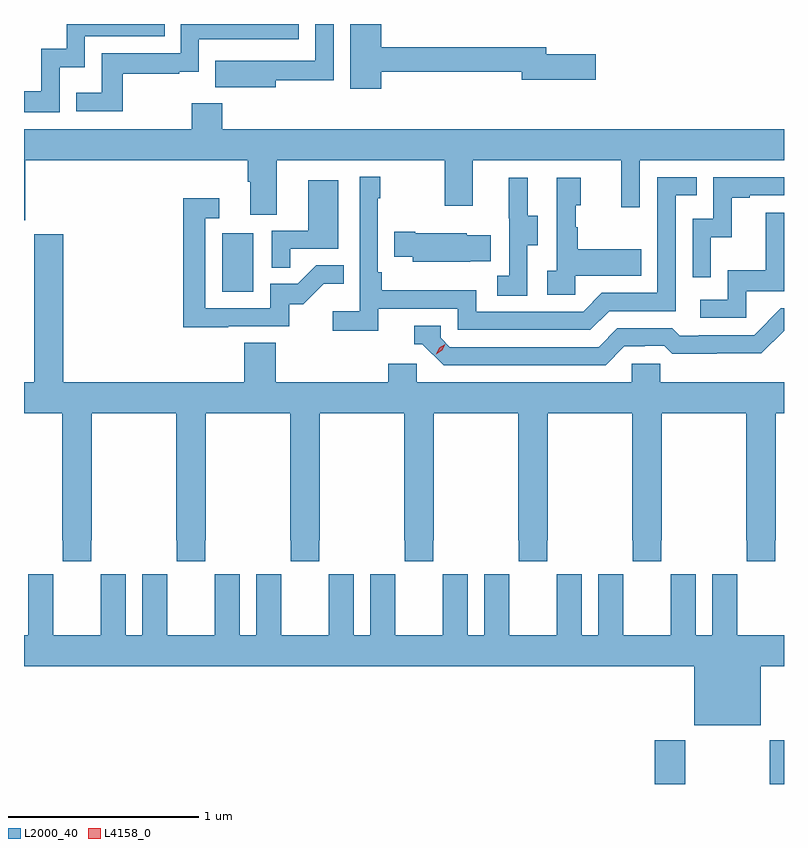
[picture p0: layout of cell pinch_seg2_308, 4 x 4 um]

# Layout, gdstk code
import gdstk
lib = gdstk.Library(unit=1e-6, precision=1e-09)
def R(c, l, rs):  # rectangles x0, y0, x1, y1
    for r in rs: c.add(gdstk.rectangle(r[:2], r[2:], *l))
def P(c, l, *ps):  # polygons
    for p in ps: c.add(gdstk.Polygon(p, *l))
L2000_40 = (2000, 40)
L4158_0 = (4158, 0)

pinch_seg2_308 = lib.new_cell('pinch_seg2_308')
R(pinch_seg2_308, L2000_40, [(892.205,643.021,892.365,643.252), (892.81,643.021,892.885,643.252), (889.928,645.612,890.092,645.919)])
P(pinch_seg2_308, L2000_40, [(890.764,646.77),(891.506,646.77),(891.506,646.727),(891.895,646.727),(891.895,646.862),(891.634,646.862),(891.634,646.898),(890.764,646.898),(890.764,647.021),(890.603,647.021),(890.603,646.68),(890.764,646.68)],
  [(889.074,646.793),(889.206,646.793),(889.206,646.956),(889.625,646.956),(889.625,647.021),(889.11,647.021),(889.11,646.891),(888.977,646.891),(888.977,646.666),(888.885,646.666),(888.885,646.557),(889.074,646.557)],
  [(890.209,646.726),(890.514,646.726),(890.514,647.021),(890.418,647.021),(890.418,646.827),(890.105,646.827),(890.105,646.828),(889.891,646.828),(889.891,646.688),(890.209,646.688)],
  [(889.405,646.758),(889.703,646.758),(889.703,646.769),(889.806,646.769),(889.806,646.941),(890.332,646.941),(890.332,647.021),(889.71,647.021),(889.71,646.866),(889.294,646.866),(889.294,646.66),(889.159,646.66),(889.159,646.563),(889.405,646.563)],
  [(888.892,646.304),(890.063,646.304),(890.063,646.192),(890.075,646.192),(890.075,646.018),(890.215,646.018),(890.215,646.304),(891.1,646.304),(891.1,646.065),(891.247,646.065),(891.247,646.304),(892.028,646.304),(892.028,646.056),(892.125,646.056),(892.125,646.304),(892.885,646.304),(892.885,646.468),(889.928,646.468),(889.928,646.603),(889.768,646.603),(889.768,646.468),(888.885,646.468),(888.885,645.987),(888.892,645.987)],
  [(890.75,645.522),(891.168,645.522),(891.168,645.411),(891.865,645.411),(891.964,645.51),(892.314,645.51),(892.314,646.119),(892.427,646.119),(892.427,646.215),(892.218,646.215),(892.218,645.606),(891.927,645.606),(891.828,645.507),(891.264,645.507),(891.264,645.619),(890.768,645.619),(890.768,645.715),(890.748,645.715),(890.748,646.103),(890.761,646.103),(890.761,646.216),(890.652,646.216),(890.652,645.508),(890.511,645.508),(890.511,645.406),(890.75,645.406)],
  [(892.5,645.899),(892.61,645.899),(892.61,646.107),(892.705,646.107),(892.705,646.119),(892.885,646.119),(892.885,646.215),(892.512,646.215),(892.512,645.996),(892.404,645.996),(892.404,645.687),(892.5,645.687)],
  [(891.786,645.695),(892.133,645.695),(892.133,645.835),(891.799,645.835),(891.799,645.95),(891.789,645.95),(891.789,646.068),(891.814,646.068),(891.814,646.213),(891.69,646.213),(891.69,645.722),(891.639,645.722),(891.639,645.597),(891.786,645.597)],
  [(891.534,645.856),(891.589,645.856),(891.589,646.011),(891.535,646.011),(891.535,646.213),(891.437,646.213),(891.437,645.999),(891.438,645.999),(891.438,645.695),(891.375,645.695),(891.375,645.592),(891.534,645.592)],
  [(890.285,645.837),(890.539,645.837),(890.539,646.198),(890.381,646.198),(890.381,645.933),(890.19,645.933),(890.19,645.739),(890.285,645.739)],
  [(889.961,645.429),(890.28,645.429),(890.28,645.546),(890.356,645.546),(890.463,645.653),(890.567,645.653),(890.567,645.752),(890.423,645.752),(890.325,645.654),(890.181,645.654),(890.181,645.525),(889.839,645.525),(889.839,645.999),(889.912,645.999),(889.912,646.105),(889.723,646.105),(889.723,645.424),(889.961,645.424)],
  [(892.686,645.615),(892.885,645.615),(892.885,646.027),(892.789,646.027),(892.789,645.724),(892.59,645.724),(892.59,645.57),(892.443,645.57),(892.443,645.474),(892.686,645.474)],
  [(891.233,645.773),(891.341,645.773),(891.341,645.91),(891.216,645.91),(891.216,645.919),(890.944,645.919),(890.944,645.927),(890.833,645.927),(890.833,645.797),(890.931,645.797),(890.931,645.77),(891.233,645.77)],
  [(892.045,645.324),(892.152,645.324),(892.152,645.327),(892.255,645.327),(892.297,645.285),(892.53,645.285),(892.53,645.287),(892.766,645.287),(892.885,645.406),(892.885,645.525),(892.869,645.525),(892.728,645.384),(892.435,645.384),(892.435,645.381),(892.336,645.381),(892.297,645.42),(892.008,645.42),(891.909,645.321),(891.126,645.321),(891.078,645.369),(891.078,645.432),(890.939,645.432),(890.939,645.336),(890.982,645.336),(891.093,645.225),(891.946,645.225)],
  [(892.233,645.234),(892.083,645.234),(892.083,645.136),(890.952,645.136),(890.952,645.234),(890.801,645.234),(890.801,645.136),(890.21,645.136),(890.21,645.344),(890.045,645.344),(890.045,645.136),(889.091,645.136),(889.091,645.915),(888.938,645.915),(888.938,645.136),(888.885,645.136),(888.885,644.972),(889.087,644.972),(889.087,644.305),(889.089,644.305),(889.089,644.193),(889.239,644.193),(889.239,644.305),(889.242,644.305),(889.242,644.972),(889.687,644.972),(889.687,644.305),(889.689,644.305),(889.689,644.193),(889.839,644.193),(889.839,644.305),(889.842,644.305),(889.842,644.972),(890.287,644.972),(890.287,644.305),(890.289,644.305),(890.289,644.193),(890.439,644.193),(890.439,644.305),(890.442,644.305),(890.442,644.972),(890.887,644.972),(890.887,644.305),(890.889,644.305),(890.889,644.193),(891.039,644.193),(891.039,644.305),(891.042,644.305),(891.042,644.972),(891.487,644.972),(891.487,644.305),(891.489,644.305),(891.489,644.193),(891.639,644.193),(891.639,644.305),(891.642,644.305),(891.642,644.972),(892.087,644.972),(892.087,644.305),(892.089,644.305),(892.089,644.193),(892.239,644.193),(892.239,644.305),(892.242,644.305),(892.242,644.972),(892.687,644.972),(892.687,644.305),(892.689,644.305),(892.689,644.193),(892.839,644.193),(892.839,644.305),(892.842,644.305),(892.842,644.972),(892.885,644.972),(892.885,645.136),(892.233,645.136)],
  [(890.108,644.125),(890.108,643.804),(890.02,643.804),(890.02,644.125),(889.89,644.125),(889.89,644.012),(889.889,644.012),(889.889,643.804),(889.639,643.804),(889.639,644.012),(889.638,644.012),(889.638,644.125),(889.508,644.125),(889.508,643.804),(889.42,643.804),(889.42,644.125),(889.29,644.125),(889.29,644.012),(889.289,644.012),(889.289,643.804),(889.039,643.804),(889.039,644.012),(889.038,644.012),(889.038,644.125),(888.908,644.125),(888.908,643.804),(888.885,643.804),(888.885,643.64),(892.412,643.64),(892.412,643.331),(892.762,643.331),(892.762,643.64),(892.885,643.64),(892.885,643.804),(892.639,643.804),(892.639,644.012),(892.638,644.012),(892.638,644.125),(892.508,644.125),(892.508,643.804),(892.42,643.804),(892.42,644.125),(892.29,644.125),(892.29,644.012),(892.289,644.012),(892.289,643.804),(892.039,643.804),(892.039,644.012),(892.038,644.012),(892.038,644.125),(891.908,644.125),(891.908,643.804),(891.82,643.804),(891.82,644.125),(891.69,644.125),(891.69,644.012),(891.689,644.012),(891.689,643.804),(891.439,643.804),(891.439,644.012),(891.438,644.012),(891.438,644.125),(891.308,644.125),(891.308,643.804),(891.22,643.804),(891.22,644.125),(891.09,644.125),(891.09,644.012),(891.089,644.012),(891.089,643.804),(890.839,643.804),(890.839,644.012),(890.838,644.012),(890.838,644.125),(890.708,644.125),(890.708,643.804),(890.62,643.804),(890.62,644.125),(890.49,644.125),(890.49,644.012),(890.489,644.012),(890.489,643.804),(890.239,643.804),(890.239,644.012),(890.238,644.012),(890.238,644.125)])
P(pinch_seg2_308, L4158_0, [(891.054,645.283),(891.054,645.284),(891.07,645.316),(891.101,645.336),(891.101,645.336),(891.101,645.335),(891.085,645.303),(891.054,645.283)])

lib.write_gds('pinch_seg2_308.gds')
